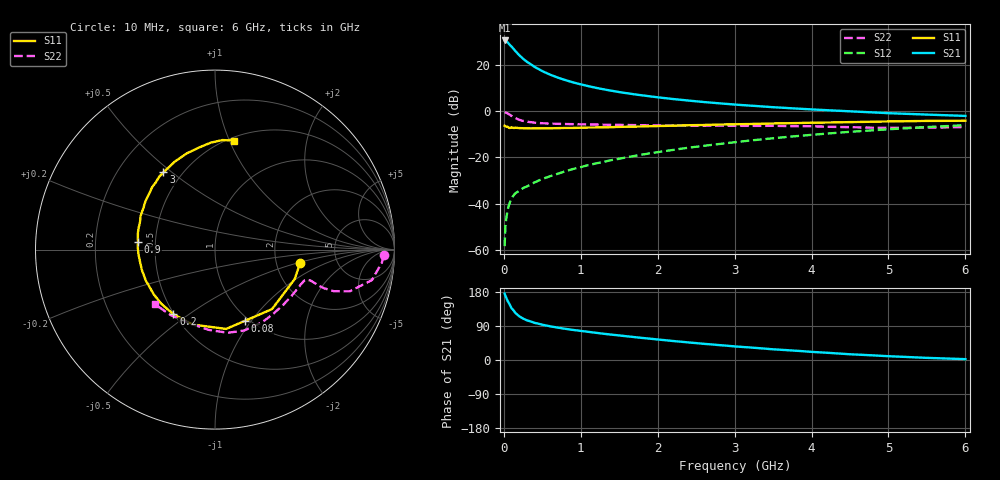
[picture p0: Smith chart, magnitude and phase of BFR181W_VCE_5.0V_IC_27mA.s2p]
! Infineon Technologies  Discrete & RF Semiconductors
! BFR181W
! VCE =  5.0 V,  IC =  27 mA
! Common Emitter S-Parameters:  Jan 2017
# GHz  S  MA  R  50
!  f  S11  S21  S12  S22
! GHz  MAG  ANG  MAG  ANG  MAG  ANG  MAG  ANG
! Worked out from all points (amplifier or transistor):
!   77 points, 10 MHz to 6 GHz, reference 50 ohm
!   highest |S21| = 30.5 dB at 10 MHz (marker M1)
!   |S21| within 3 dB of that: start of sweep to 109.5 MHz
!   unconditionally stable (mu >= 1): start of sweep to 10.64 MHz; 397.9 MHz to 2.476 GHz
!   at 130 MHz: K = 0.54, MSG = 31.5 dB, |S12| = -36.4 dB
!   at 2.2 GHz: K = 1.05, MAG = 9.7 dB, |S12| = -16.8 dB
!   at 6 GHz: K = 0.88, MSG = 2.0 dB, |S12| = -6.1 dB
!   S11 on the Smith chart (normalised r, x): 10 MHz: 2.74, -0.52; 80 MHz: 0.95, -0.93; 200 MHz: 0.50, -0.44; 900 MHz: 0.40, +0.04; 3 GHz: 0.40, +0.47; 6 GHz: 0.53, +1.04
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0.01  0.4806 -8.8  33.53 175.1  0.0012 83.3  0.9417 -1.9
0.02  0.4733 -20.3  32.99 169.4  0.0032 99.8  0.9332 -4.3
0.05  0.4592 -46.2  30.45 155.3  0.0074 71.6  0.8908 -11.0
0.08  0.4304 -67.5  26.66 144.9  0.0107 66.7  0.8266 -14.5
0.1  0.4463 -82.0  24.74 136.4  0.013 64.9  0.7858 -17.2
0.15  0.4356 -106.5  19.82 124.2  0.0167 61.1  0.7015 -19.3
0.2  0.4281 -122.8  16.13 115.4  0.0189 61.0  0.6463 -19.5
0.25  0.4249 -134.8  13.52 109.3  0.0216 60.9  0.6119 -19.2
0.3  0.4225 -143.9  11.58 104.7  0.0234 62.6  0.5878 -18.6
0.4  0.4224 -156.0  8.975 97.9  0.0287 66.5  0.5606 -18.0
0.5  0.423 -164.7  7.275 93.1  0.034 68.2  0.5448 -18.0
0.6  0.4234 -171.3  6.128 89.0  0.0389 70.5  0.5361 -18.2
0.7  0.4272 -176.6  5.291 85.5  0.044 72.9  0.5292 -18.8
0.9  0.4308 174.6  4.16 79.4  0.0559 75.2  0.5204 -20.8
1.1  0.4397 167.5  3.444 74.3  0.0679 76.7  0.5141 -23.2
1.5  0.4546 155.9  2.573 64.8  0.0931 78.2  0.5011 -29.1
2.1  0.4777 141.5  1.897 52.2  0.1368 77.5  0.4871 -40.5
3  0.5174 123.7  1.381 35.9  0.2116 72.7  0.48 -59.8
3.1  0.5206 121.8  1.345 34.5  0.2208 71.8  0.4786 -61.9
4.1  0.5614 104.7  1.063 20.3  0.3155 62.7  0.463 -83.8
5.1  0.599 91.0  0.886 9.2  0.4123 51.5  0.4331 -112.0
6  0.617 80.1  0.784 2.2  0.4954 40.7  0.4523 -137.5
